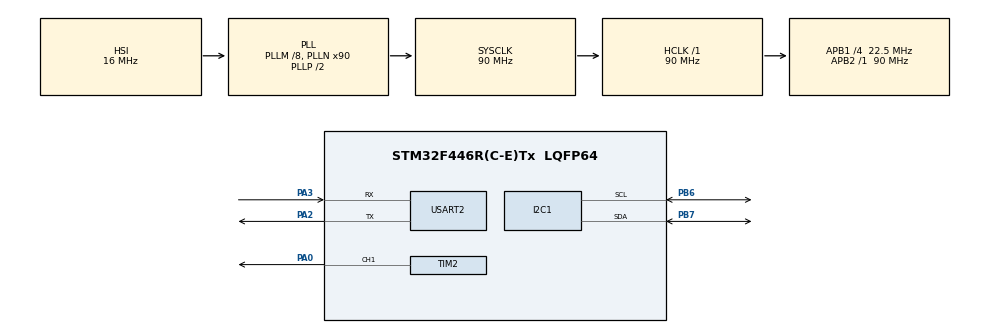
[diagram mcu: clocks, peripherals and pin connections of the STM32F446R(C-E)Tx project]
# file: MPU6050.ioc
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Mcu.Family=STM32F4
Mcu.Name=STM32F446R(C-E)Tx
Mcu.Package=LQFP64
NVIC.PriorityGroup=NVIC_PRIORITYGROUP_4
PA0-WKUP.Signal=S_TIM2_CH1_ETR
PA2.Mode=Asynchronous
PA2.Signal=USART2_TX
PA3.Mode=Asynchronous
PA3.Signal=USART2_RX
PB6.Mode=I2C
PB6.Signal=I2C1_SCL
PB7.Mode=I2C
PB7.Signal=I2C1_SDA
ProjectManager.HeapSize=0x200
ProjectManager.StackSize=0x400
ProjectManager.TargetToolchain=STM32CubeIDE
RCC.AHBFreq_Value=90000000
RCC.APB1CLKDivider=RCC_HCLK_DIV4
RCC.APB1Freq_Value=22500000
RCC.APB1TimFreq_Value=45000000
RCC.APB2Freq_Value=90000000
RCC.APB2TimFreq_Value=90000000
RCC.CortexFreq_Value=90000000
RCC.HCLKFreq_Value=90000000
RCC.PLLM=8
RCC.PLLN=90
RCC.SYSCLKFreq_VALUE=90000000
RCC.SYSCLKSource=RCC_SYSCLKSOURCE_PLLCLK
RCC.USBFreq_Value=90000000
RCC.VCOOutputFreq_Value=180000000
SH.S_TIM2_CH1_ETR.0=TIM2_CH1,PWM Generation1 CH1
TIM2.Channel-PWM\ Generation1\ CH1=TIM_CHANNEL_1
TIM2.Period=10000-1
TIM2.Prescaler=90-1
TIM3.Prescaler=72-1
USART2.VirtualMode=VM_ASYNC
VP_TIM2_VS_ClockSourceINT.Mode=Internal
VP_TIM3_VS_ClockSourceINT.Mode=Internal
board=custom

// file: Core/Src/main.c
/* USER CODE BEGIN Header */
/**
  ******************************************************************************
  * @file           : main.c
  * @brief          : Main program body
  ******************************************************************************
  * @attention
  *
  * Copyright (c) 2026 STMicroelectronics.
  * All rights reserved.
  *
  * This software is licensed under terms that can be found in the LICENSE file
  * in the root directory of this software component.
  * If no LICENSE file comes with this software, it is provided AS-IS.
  *
  ******************************************************************************
  */
/* USER CODE END Header */
#include "main.h"

/* USER CODE BEGIN Includes */
#include "string.h"
#include "stdio.h"
#include "math.h"
#include "MPU6050.h"
//#include "servo.h"
//#include "PID.h"
/* USER CODE END Includes */

/* USER CODE BEGIN PD */
#define PI 3.14f
#define g 9.8f
#define rad_to_deg 57.2957795131f
#define deg_to_rad 0.0174533f
#define SAMPLE_TIME_MS_USB 100
#define alpha 0.05000000000f
/* USER CODE END PD */

I2C_HandleTypeDef hi2c1;

TIM_HandleTypeDef htim2;
TIM_HandleTypeDef htim3;

UART_HandleTypeDef huart2;

/* USER CODE BEGIN PV */
float X_accel_calibration_value, Y_accel_calibration_value, Z_accel_calibration_value;
float X_gyro_calibration_value, Y_gyro_calibration_value, Z_gyro_calibration_value;
int calibration_number;
/* USER CODE END PV */

void SystemClock_Config(void);
static void MX_GPIO_Init(void);
static void MX_I2C1_Init(void);
static void MX_USART2_UART_Init(void);
static void MX_TIM2_Init(void);
static void MX_TIM3_Init(void);

/* USER CODE BEGIN 0 */
void Delay(uint16_t time){
	__HAL_TIM_SET_COUNTER(&htim3, 0);
	HAL_TIM_Base_Start(&htim3);
	while(__HAL_TIM_GET_COUNTER(&htim3) < time)
		HAL_TIM_Base_Stop(&htim3);
}
/* USER CODE END 0 */

int main(void)
{

  /* MCU Configuration--------------------------------------------------------*/

  /* Reset of all peripherals, Initializes the Flash interface and the Systick. */
  HAL_Init();

  /* Configure the system clock */
  SystemClock_Config();

  /* Initialize all configured peripherals */
  MX_GPIO_Init();
  MX_I2C1_Init();
  MX_USART2_UART_Init();
  MX_TIM2_Init();
  MX_TIM3_Init();
  /* USER CODE BEGIN 2 */

  HAL_TIM_PWM_Start(&htim2, TIM_CHANNEL_1);

  HAL_Delay(200);
//  servo_rotate(0);

  MPU6050_init();

  FoundDevices();

  float ax, ay, az;

  for(calibration_number = 0; calibration_number < 2000; calibration_number++){
	  read_accel(&ax,&ay,&az);
	  X_accel_calibration_value += ax;
	  Y_accel_calibration_value += ay;
	  Z_accel_calibration_value += az;
	  HAL_Delay(1);
  }

  X_accel_calibration_value /= 2000;
  Y_accel_calibration_value /= 2000;
  Z_accel_calibration_value /= 2000;

  float gx,gy,gz;

  for(calibration_number = 0;calibration_number < 2000;calibration_number++){
	  read_gyro(&gx,&gy,&gz);
	  X_gyro_calibration_value += gx;
	  Y_gyro_calibration_value += gy;
	  Z_gyro_calibration_value += gz;
	  HAL_Delay(1);
  }

  X_gyro_calibration_value /= 2000;
  Y_gyro_calibration_value /= 2000;
  Z_gyro_calibration_value /= 2000;

  char msg[100];

  float roll_accel, pitch_accel, roll_gyro = 0.0f, pitch_gyro = 0.0f;
  float comp_roll = 0.0f, comp_pitch = 0.0f;

  /* USER CODE END 2 */

  /* Infinite loop */
  /* USER CODE BEGIN WHILE */
  while (1)
  {
	  read_accel(&ax,&ay,&az);
	  read_gyro(&gx,&gy,&gz);

	  ax -= X_accel_calibration_value;
	  ay -= Y_accel_calibration_value;
	  az -= (Z_accel_calibration_value + 1);

	  gx -= X_gyro_calibration_value;
	  gy -= Y_gyro_calibration_value;
	  gz -= Z_gyro_calibration_value;

	  gx *= deg_to_rad; // because the raw values are in degree/s for gyro and in rad for accel
	  gy *= deg_to_rad;
	  gz *= deg_to_rad;

	  float dt = 0.1f;

	  // roll and pitch using accelerometer
	  roll_accel = atanf(ay / az);
	  pitch_accel = atan2f(-ax, sqrtf(ay*ay + az*az)); // magnitude of the projection of the vector onto the YZ plane sqrt(ay² + az²)

	  // roll and pitch using gyroscope
	  float rollDot = gx + tanf(pitch_gyro) * (gy * sinf(roll_gyro) + gz * cosf(roll_gyro));
	  float pitchDot = gy * cosf(roll_gyro) - gz * sinf(roll_gyro);

	  /* Integrate Euler rates to get estimate of roll and pitch angles */
	  roll_gyro  += dt * rollDot;
	  pitch_gyro += dt * pitchDot;

	  comp_roll = roll_accel * alpha + (1 - alpha) * (comp_roll + dt * rollDot);
	  comp_pitch = pitch_accel * alpha + (1 - alpha) * (comp_pitch + dt * pitchDot);

	  sprintf(msg, "%.2f,%.2f\r\n", comp_roll * rad_to_deg, comp_pitch * rad_to_deg);

	  HAL_UART_Transmit(&huart2, (uint8_t*)msg, strlen(msg), 10);

	  HAL_Delay(100);

    /* USER CODE END WHILE */

  }
}

void SystemClock_Config(void)
{
  RCC_OscInitTypeDef RCC_OscInitStruct = {0};
  RCC_ClkInitTypeDef RCC_ClkInitStruct = {0};

  /** Configure the main internal regulator output voltage
  */
  __HAL_RCC_PWR_CLK_ENABLE();
  __HAL_PWR_VOLTAGESCALING_CONFIG(PWR_REGULATOR_VOLTAGE_SCALE3);

  /** Initializes the RCC Oscillators according to the specified parameters
  * in the RCC_OscInitTypeDef structure.
  */
  RCC_OscInitStruct.OscillatorType = RCC_OSCILLATORTYPE_HSI;
  RCC_OscInitStruct.HSIState = RCC_HSI_ON;
  RCC_OscInitStruct.HSICalibrationValue = RCC_HSICALIBRATION_DEFAULT;
  RCC_OscInitStruct.PLL.PLLState = RCC_PLL_ON;
  RCC_OscInitStruct.PLL.PLLSource = RCC_PLLSOURCE_HSI;
  RCC_OscInitStruct.PLL.PLLM = 8;
  RCC_OscInitStruct.PLL.PLLN = 90;
  RCC_OscInitStruct.PLL.PLLP = RCC_PLLP_DIV2;
  RCC_OscInitStruct.PLL.PLLQ = 2;
  RCC_OscInitStruct.PLL.PLLR = 2;
  if (HAL_RCC_OscConfig(&RCC_OscInitStruct) != HAL_OK)
  {
    Error_Handler();
  }

  /** Initializes the CPU, AHB and APB buses clocks
  */
  RCC_ClkInitStruct.ClockType = RCC_CLOCKTYPE_HCLK|RCC_CLOCKTYPE_SYSCLK
                              |RCC_CLOCKTYPE_PCLK1|RCC_CLOCKTYPE_PCLK2;
  RCC_ClkInitStruct.SYSCLKSource = RCC_SYSCLKSOURCE_PLLCLK;
  RCC_ClkInitStruct.AHBCLKDivider = RCC_SYSCLK_DIV1;
  RCC_ClkInitStruct.APB1CLKDivider = RCC_HCLK_DIV4;
  RCC_ClkInitStruct.APB2CLKDivider = RCC_HCLK_DIV1;

  if (HAL_RCC_ClockConfig(&RCC_ClkInitStruct, FLASH_LATENCY_2) != HAL_OK)
  {
    Error_Handler();
  }
}

static void MX_I2C1_Init(void)
{

  hi2c1.Instance = I2C1;
  hi2c1.Init.ClockSpeed = 100000;
  hi2c1.Init.DutyCycle = I2C_DUTYCYCLE_2;
  hi2c1.Init.OwnAddress1 = 0;
  hi2c1.Init.AddressingMode = I2C_ADDRESSINGMODE_7BIT;
  hi2c1.Init.DualAddressMode = I2C_DUALADDRESS_DISABLE;
  hi2c1.Init.OwnAddress2 = 0;
  hi2c1.Init.GeneralCallMode = I2C_GENERALCALL_DISABLE;
  hi2c1.Init.NoStretchMode = I2C_NOSTRETCH_DISABLE;
  if (HAL_I2C_Init(&hi2c1) != HAL_OK)
  {
    Error_Handler();
  }

}

static void MX_TIM2_Init(void)
{

  TIM_ClockConfigTypeDef sClockSourceConfig = {0};
  TIM_MasterConfigTypeDef sMasterConfig = {0};
  TIM_OC_InitTypeDef sConfigOC = {0};

  htim2.Instance = TIM2;
  htim2.Init.Prescaler = 90-1;
  htim2.Init.CounterMode = TIM_COUNTERMODE_UP;
  htim2.Init.Period = 10000-1;
  htim2.Init.ClockDivision = TIM_CLOCKDIVISION_DIV1;
  htim2.Init.AutoReloadPreload = TIM_AUTORELOAD_PRELOAD_DISABLE;
  if (HAL_TIM_Base_Init(&htim2) != HAL_OK)
  {
    Error_Handler();
  }
  sClockSourceConfig.ClockSource = TIM_CLOCKSOURCE_INTERNAL;
  if (HAL_TIM_ConfigClockSource(&htim2, &sClockSourceConfig) != HAL_OK)
  {
    Error_Handler();
  }
  if (HAL_TIM_PWM_Init(&htim2) != HAL_OK)
  {
    Error_Handler();
  }
  sMasterConfig.MasterOutputTrigger = TIM_TRGO_RESET;
  sMasterConfig.MasterSlaveMode = TIM_MASTERSLAVEMODE_DISABLE;
  if (HAL_TIMEx_MasterConfigSynchronization(&htim2, &sMasterConfig) != HAL_OK)
  {
    Error_Handler();
  }
  sConfigOC.OCMode = TIM_OCMODE_PWM1;
  sConfigOC.Pulse = 0;
  sConfigOC.OCPolarity = TIM_OCPOLARITY_HIGH;
  sConfigOC.OCFastMode = TIM_OCFAST_DISABLE;
  if (HAL_TIM_PWM_ConfigChannel(&htim2, &sConfigOC, TIM_CHANNEL_1) != HAL_OK)
  {
    Error_Handler();
  }
  HAL_TIM_MspPostInit(&htim2);

}

static void MX_TIM3_Init(void)
{

  TIM_ClockConfigTypeDef sClockSourceConfig = {0};
  TIM_MasterConfigTypeDef sMasterConfig = {0};

  htim3.Instance = TIM3;
  htim3.Init.Prescaler = 72-1;
  htim3.Init.CounterMode = TIM_COUNTERMODE_UP;
  htim3.Init.Period = 65535;
  htim3.Init.ClockDivision = TIM_CLOCKDIVISION_DIV1;
  htim3.Init.AutoReloadPreload = TIM_AUTORELOAD_PRELOAD_DISABLE;
  if (HAL_TIM_Base_Init(&htim3) != HAL_OK)
  {
    Error_Handler();
  }
  sClockSourceConfig.ClockSource = TIM_CLOCKSOURCE_INTERNAL;
  if (HAL_TIM_ConfigClockSource(&htim3, &sClockSourceConfig) != HAL_OK)
  {
    Error_Handler();
  }
  sMasterConfig.MasterOutputTrigger = TIM_TRGO_RESET;
  sMasterConfig.MasterSlaveMode = TIM_MASTERSLAVEMODE_DISABLE;
  if (HAL_TIMEx_MasterConfigSynchronization(&htim3, &sMasterConfig) != HAL_OK)
  {
    Error_Handler();
  }

}

static void MX_USART2_UART_Init(void)
{

  huart2.Instance = USART2;
  huart2.Init.BaudRate = 115200;
  huart2.Init.WordLength = UART_WORDLENGTH_8B;
  huart2.Init.StopBits = UART_STOPBITS_1;
  huart2.Init.Parity = UART_PARITY_NONE;
  huart2.Init.Mode = UART_MODE_TX_RX;
  huart2.Init.HwFlowCtl = UART_HWCONTROL_NONE;
  huart2.Init.OverSampling = UART_OVERSAMPLING_16;
  if (HAL_UART_Init(&huart2) != HAL_OK)
  {
    Error_Handler();
  }

}

static void MX_GPIO_Init(void)
{

  /* GPIO Ports Clock Enable */
  __HAL_RCC_GPIOA_CLK_ENABLE();
  __HAL_RCC_GPIOB_CLK_ENABLE();

}

void Error_Handler(void)
{
  __disable_irq();
  while (1)
  {
  }
}
